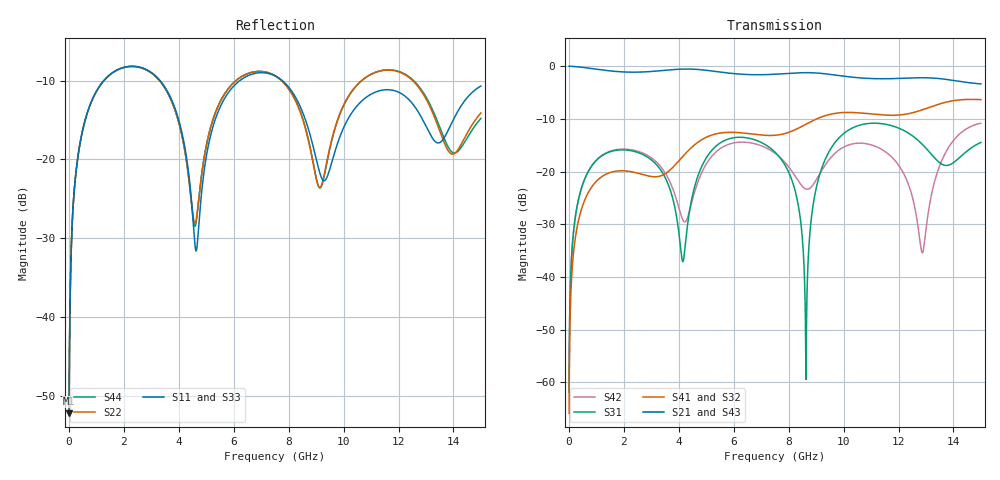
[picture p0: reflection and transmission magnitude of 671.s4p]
! Created with skrf 1.8.0 (http://scikit-rf.org).
# GHz S RI R 50.0
!freq ReS11 ImS11 ReS12 ImS12 ReS13 ImS13
! ReS14 ImS14
! ReS21 ImS21 ReS22 ImS22 ReS23 ImS23
! ReS24 ImS24
! ReS31 ImS31 ReS32 ImS32 ReS33 ImS33
! ReS34 ImS34
! ReS41 ImS41 ReS42 ImS42 ReS43 ImS43
! ReS44 ImS44
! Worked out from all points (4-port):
!   2499 points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, 5 MHz to 15 GHz, reference 50 ohm
!   strongest paths, dB at 5 MHz, 3.476 GHz, 7.19 GHz, 11.1 GHz, 15 GHz:
!     S21: 0.0, -0.8, -1.6, -2.4, -3.4
!     S43: 0.0, -0.8, -1.6, -2.4, -3.3
!     S41: -65.8, -20.5, -13.1, -9.1, -6.4
!     S32: -65.8, -20.5, -13.2, -9.1, -6.4
!     S31: -61.8, -20.9, -15.0, -10.8, -14.5
!     S42: -61.8, -20.1, -15.5, -15.1, -10.8
!   lowest |S11| = -52.3 dB at 5 MHz (marker M1), VSWR 1.00, Z = 50.2 + j0.148 ohm
!   |S11| at or under -10 dB: start of sweep to 1.264 GHz; 3.324 GHz to 6.214 GHz (2.89 GHz wide, 60.6 % of centre); 7.773 GHz to end of sweep
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0.005  0.00194 0.00147  0.998 -0.00378  9.99e-05 0.000807  -9.68e-05 -0.000501
       0.998 -0.00378  0.00194 0.00147  -9.68e-05 -0.000501  0.0001 0.000807
       9.99e-05 0.000807  -9.68e-05 -0.000501  0.00194 0.00147  0.998 -0.00378
       -9.68e-05 -0.000501  0.0001 0.000807  0.998 -0.00378  0.00194 0.00147
1.3193  0.2732 0.1747  0.5429 -0.7316  0.1316 0.0665  -0.0934 -0.00512
        0.5429 -0.7316  0.2718 0.1756  -0.0934 -0.00512  0.1359 0.0606
        0.1316 0.0665  -0.0934 -0.00512  0.2732 0.1747  0.5429 -0.7316
        -0.0934 -0.00512  0.1359 0.0606  0.5429 -0.7316  0.2718 0.1756
4.670696  0.0273 0.00907  -0.9297 -0.0209  0.0366 0.0788  0.00189 0.1876
          -0.9297 -0.0209  0.0417 0.0197  0.00219 0.1875  -0.015 0.0749
          0.0366 0.0788  0.00219 0.1875  0.0288 0.00977  -0.9297 -0.0208
          0.00189 0.1876  -0.015 0.0749  -0.9297 -0.0208  0.0402 0.0204
8.628595  0.1235 -0.1237  0.7185 0.4838  0.00102 -0.000329  0.1506 -0.2371
          0.7185 0.4838  0.1063 -0.1103  0.1505 -0.237  -0.0607 -0.0311
          0.00102 -0.000329  0.1505 -0.237  0.1247 -0.1252  0.7177 0.4846
          0.1506 -0.2371  -0.0607 -0.0311  0.7177 0.4846  0.1074 -0.1113
9.929137  0.1254 0.0799  0.7676 -0.2481  0.1901 0.1121  -0.1503 -0.3292
          0.7676 -0.2481  0.164 0.1281  -0.1504 -0.3286  0.0605 0.1551
          0.1901 0.1121  -0.1504 -0.3286  0.1274 0.078  0.7681 -0.247
          -0.1503 -0.3292  0.0605 0.1551  0.7681 -0.247  0.1614 0.1284
12.86786  0.1726 -0.0525  -0.445 -0.6349  -0.0654 -0.1687  -0.3083 0.2304
          -0.445 -0.6349  0.2086 -0.1644  -0.3089 0.2306  0.0139 0.00967
          -0.0654 -0.1687  -0.3089 0.2306  0.1772 -0.0582  -0.4415 -0.6356
          -0.3083 0.2304  0.0139 0.00967  -0.4415 -0.6356  0.2152 -0.1661
15  0.2785 0.0901  -0.6091 0.2981  0.1437 0.1223  0.2728 0.3959
    -0.6091 0.2981  0.1919 0.0462  0.2742 0.3943  0.2614 0.1184
    0.1437 0.1223  0.2742 0.3943  0.2751 0.0738  -0.6145 0.2946
    0.2728 0.3959  0.2614 0.1184  -0.6145 0.2946  0.1783 0.0378
